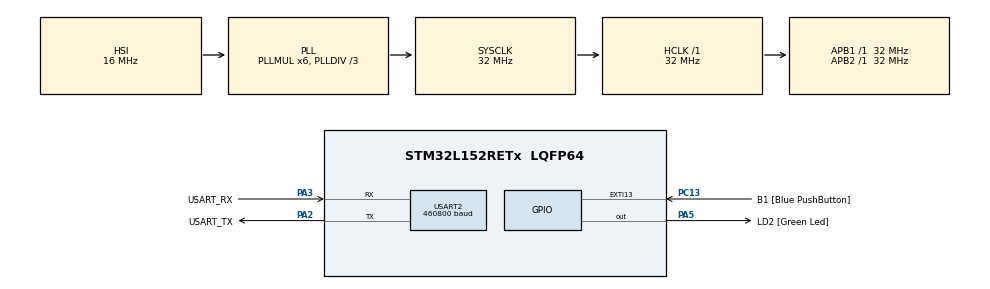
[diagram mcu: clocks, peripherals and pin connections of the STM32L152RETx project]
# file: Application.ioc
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Mcu.Family=STM32L1
Mcu.Name=STM32L152RETx
Mcu.Package=LQFP64
NVIC.PriorityGroup=NVIC_PRIORITYGROUP_0
NVIC.RTC_Alarm_IRQn=true\:0\:0\:false\:false\:true\:true\:true
PA13.GPIO_Label=TMS
PA13.Mode=Serial_Wire
PA13.Signal=SYS_JTMS-SWDIO
PA14.GPIO_Label=TCK
PA14.Mode=Serial_Wire
PA14.Signal=SYS_JTCK-SWCLK
PA2.GPIO_Label=USART_TX
PA2.Mode=Asynchronous
PA2.Signal=USART2_TX
PA3.GPIO_Label=USART_RX
PA3.Mode=Asynchronous
PA3.Signal=USART2_RX
PA5.GPIO_Label=LD2 [Green Led]
PA5.Signal=GPIO_Output
PB3.GPIO_Label=SWO
PB3.Signal=SYS_JTDO-TRACESWO
PC13-WKUP2.GPIO_Label=B1 [Blue PushButton]
PC13-WKUP2.Signal=GPXTI13
PC14-OSC32_IN.Mode=LSE-External-Oscillator
PC14-OSC32_IN.Signal=RCC_OSC32_IN
PC15-OSC32_OUT.Mode=LSE-External-Oscillator
PC15-OSC32_OUT.Signal=RCC_OSC32_OUT
PH0-OSC_IN.Mode=HSE-External-Clock-Source
PH0-OSC_IN.Signal=RCC_OSC_IN
PH1-OSC_OUT.Signal=RCC_OSC_OUT
ProjectManager.HeapSize=0x200
ProjectManager.StackSize=0x400
ProjectManager.TargetToolchain=STM32CubeIDE
RCC.48MHZClocksFreq_Value=48000000
RCC.AHBFreq_Value=32000000
RCC.APB1Freq_Value=32000000
RCC.APB1TimFreq_Value=32000000
RCC.APB2Freq_Value=32000000
RCC.APB2TimFreq_Value=32000000
RCC.HCLKFreq_Value=32000000
RCC.HSE_VALUE=8000000
RCC.HSI_VALUE=16000000
RCC.MSI_VALUE=2097000
RCC.PLLDIV=RCC_PLL_DIV3
RCC.PLLMUL=RCC_PLL_MUL6
RCC.RTCClockSelectionVirtual=RCC_RTCCLKSOURCE_LSE
RCC.SYSCLKFreq_VALUE=32000000
RCC.SYSCLKSource=RCC_SYSCLKSOURCE_PLLCLK
RCC.USBOutput=48000000
RCC.VCOOutputFreq_Value=96000000
RTC.Alarm-Alarm\ A=RTC_ALARM_A
RTC.Date=20
RTC.Format=RTC_FORMAT_BCD
RTC.Month=RTC_MONTH_OCTOBER
RTC.SynchPrediv=255
RTC.WeekDay=RTC_WEEKDAY_THURSDAY
RTC.Year=20
USART2.BaudRate=460800
USART2.VirtualMode=VM_ASYNC
VP_RTC_VS_RTC_Activate.Mode=RTC_Enabled
VP_RTC_VS_RTC_Alarm_A_Intern.Mode=Alarm A
VP_RTC_VS_RTC_Calendar.Mode=RTC_Calendar
board=NUCLEO-L152RE

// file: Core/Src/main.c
/* USER CODE BEGIN Header */
/**
  ******************************************************************************
  * @file           : main.c
  * @brief          : Main program body
  ******************************************************************************
  * @attention
  *
  * <h2><center>&copy; Copyright (c) 2021 STMicroelectronics.
  * All rights reserved.</center></h2>
  *
  * This software component is licensed by ST under BSD 3-Clause license,
  * the "License"; You may not use this file except in compliance with the
  * License. You may obtain a copy of the License at:
  *                        opensource.org/licenses/BSD-3-Clause
  *
  ******************************************************************************
  */
/* USER CODE END Header */
#include "main.h"
#include "rtc.h"
#include "usart.h"
#include "gpio.h"

/* USER CODE BEGIN Includes */
#include <stdio.h>
#include "SharedMem/shared_mem_api.h"
/* USER CODE END Includes */

void SystemClock_Config(void);

/* USER CODE BEGIN 0 */
int _write(int file, char *ptr, int len)
{
	int DataIdx;

	for(DataIdx=0; DataIdx<len; DataIdx++)
	{
		HAL_UART_Transmit(&huart2, (uint8_t *)ptr++,1,100);
	}
	return len;
}

RTC_TimeTypeDef sTime;
RTC_DateTypeDef sDate;
RTC_AlarmTypeDef sAlarm;

void HAL_RTC_AlarmAEventCallback(RTC_HandleTypeDef *hrtcxx)
{
  HAL_RTC_GetTime(hrtcxx, &sTime, RTC_FORMAT_BIN);
  HAL_RTC_GetDate(hrtcxx, &sDate, RTC_FORMAT_BIN);
  //HAL_RTCEx_GetTimeStamp(hrtc, &sTime, &sDate, RTC_FORMAT_BCD);
  printf("%d/%d/%d:%d %d %d\r\n", sDate.Year, sDate.Month, sDate.Date, sTime.Hours, sTime.Minutes, sTime.Seconds);
}

void check_rtc_status(void)
{
  hrtc.Instance = RTC;
  hrtc.Init.HourFormat = RTC_HOURFORMAT_24;
  hrtc.Init.AsynchPrediv = 127;
  hrtc.Init.SynchPrediv = 255;
  hrtc.Init.OutPut = RTC_OUTPUT_DISABLE;
  hrtc.Init.OutPutPolarity = RTC_OUTPUT_POLARITY_HIGH;
  hrtc.Init.OutPutType = RTC_OUTPUT_TYPE_OPENDRAIN;
  if (HAL_RTC_Init(&hrtc) != HAL_OK)
  {
    Error_Handler();
  }

  printf("RTC State = %d\r\n",HAL_RTC_GetState(&hrtc));
  HAL_RTC_GetTime(&hrtc, &sTime, RTC_FORMAT_BIN);
  HAL_RTC_GetDate(&hrtc, &sDate, RTC_FORMAT_BIN);
  if( (sDate.Date == 0) || (sDate.Month == 0) || (sDate.Year == 0) ||
      (sDate.Date > 31) || (sDate.Month > 12) || (sDate.Year < 20) )
  {
	  MX_RTC_Init();
	  printf("RTC Initialized.\r\n");
  }
}

/* USER CODE END 0 */

int main(void)
{
  /* USER CODE BEGIN 1 */
	_SharedMemAPI_ *api = (_SharedMemAPI_ *) 0x800A000;
  /* USER CODE END 1 */

  /* MCU Configuration--------------------------------------------------------*/

  /* Reset of all peripherals, Initializes the Flash interface and the Systick. */
  HAL_Init();

  /* Configure the system clock */
  SystemClock_Config();

  /* Initialize all configured peripherals */
  MX_GPIO_Init();
  MX_USART2_UART_Init();
  //MX_RTC_Init();
  /* USER CODE BEGIN 2 */
  unsigned int count;
  printf("Application running...\r\n");

  check_rtc_status();

  /* Alarm every minute @ XX:XX:10 */
  sAlarm.AlarmMask = RTC_ALARMMASK_DATEWEEKDAY|RTC_ALARMMASK_HOURS|RTC_ALARMMASK_MINUTES;
  sAlarm.Alarm = RTC_ALARM_A;
#if 0
  sAlarm.AlarmTime.Seconds = 10;
  HAL_RTC_SetAlarm_IT(&hrtc, &sAlarm, RTC_FORMAT_BIN);
#else
  sAlarm.AlarmTime.Seconds = RTC_ByteToBcd2(10);
  HAL_RTC_SetAlarm_IT(&hrtc, &sAlarm, RTC_FORMAT_BCD);
#endif

  /* USER CODE END 2 */

  /* Infinite loop */
  while (1)
  {

    /* USER CODE BEGIN 3 */
    for(int i=0;i<10;i++)
    {
        api->LedBlink();
        HAL_Delay(200);
    }
    count = api->TurnOn();
    HAL_Delay(1000);
    api->LittleFS_Mount();
    printf("%03d interactions\r\n",count);
  }
  /* USER CODE END 3 */
}

void SystemClock_Config(void)
{
  RCC_OscInitTypeDef RCC_OscInitStruct = {0};
  RCC_ClkInitTypeDef RCC_ClkInitStruct = {0};
  RCC_PeriphCLKInitTypeDef PeriphClkInit = {0};

  /** Configure the main internal regulator output voltage
  */
  __HAL_PWR_VOLTAGESCALING_CONFIG(PWR_REGULATOR_VOLTAGE_SCALE1);
  /** Initializes the RCC Oscillators according to the specified parameters
  * in the RCC_OscInitTypeDef structure.
  */
  RCC_OscInitStruct.OscillatorType = RCC_OSCILLATORTYPE_HSI|RCC_OSCILLATORTYPE_LSE;
  RCC_OscInitStruct.LSEState = RCC_LSE_ON;
  RCC_OscInitStruct.HSIState = RCC_HSI_ON;
  RCC_OscInitStruct.HSICalibrationValue = RCC_HSICALIBRATION_DEFAULT;
  RCC_OscInitStruct.PLL.PLLState = RCC_PLL_ON;
  RCC_OscInitStruct.PLL.PLLSource = RCC_PLLSOURCE_HSI;
  RCC_OscInitStruct.PLL.PLLMUL = RCC_PLL_MUL6;
  RCC_OscInitStruct.PLL.PLLDIV = RCC_PLL_DIV3;
  if (HAL_RCC_OscConfig(&RCC_OscInitStruct) != HAL_OK)
  {
    Error_Handler();
  }
  /** Initializes the CPU, AHB and APB buses clocks
  */
  RCC_ClkInitStruct.ClockType = RCC_CLOCKTYPE_HCLK|RCC_CLOCKTYPE_SYSCLK
                              |RCC_CLOCKTYPE_PCLK1|RCC_CLOCKTYPE_PCLK2;
  RCC_ClkInitStruct.SYSCLKSource = RCC_SYSCLKSOURCE_PLLCLK;
  RCC_ClkInitStruct.AHBCLKDivider = RCC_SYSCLK_DIV1;
  RCC_ClkInitStruct.APB1CLKDivider = RCC_HCLK_DIV1;
  RCC_ClkInitStruct.APB2CLKDivider = RCC_HCLK_DIV1;

  if (HAL_RCC_ClockConfig(&RCC_ClkInitStruct, FLASH_LATENCY_1) != HAL_OK)
  {
    Error_Handler();
  }
  PeriphClkInit.PeriphClockSelection = RCC_PERIPHCLK_RTC;
  PeriphClkInit.RTCClockSelection = RCC_RTCCLKSOURCE_LSE;
  if (HAL_RCCEx_PeriphCLKConfig(&PeriphClkInit) != HAL_OK)
  {
    Error_Handler();
  }
}

void Error_Handler(void)
{
  __disable_irq();
  while (1)
  {
  }
}

/************************ (C) COPYRIGHT STMicroelectronics *****END OF FILE****/
